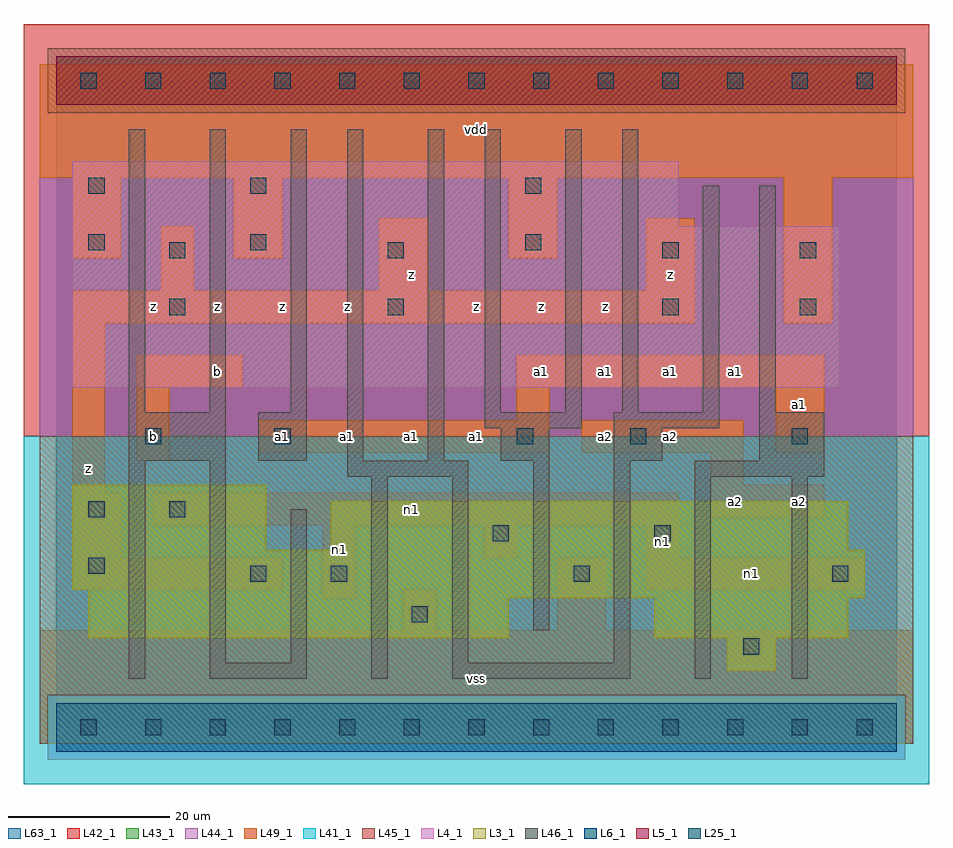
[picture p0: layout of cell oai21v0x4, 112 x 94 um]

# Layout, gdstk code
import gdstk
lib = gdstk.Library(unit=1e-6, precision=1e-09)
def R(c, l, rs):  # rectangles x0, y0, x1, y1
    for r in rs: c.add(gdstk.rectangle(r[:2], r[2:], *l))
def A(c, l, x, y, w, h, nx, ny, dx, dy):  # array of equal rectangles
    R(c, l, [(x+i*dx, y+j*dy, x+i*dx+w, y+j*dy+h) for i in range(nx) for j in range(ny)])
L3_1 = (3, 1)
L4_1 = (4, 1)
L5_1 = (5, 1)
L6_1 = (6, 1)
L25_1 = (25, 1)
L41_1 = (41, 1)
L42_1 = (42, 1)
L43_1 = (43, 1)
L44_1 = (44, 1)
L45_1 = (45, 1)
L46_1 = (46, 1)
L49_1 = (49, 1)
L63_1 = (63, 1)

oai21v0x4 = lib.new_cell('oai21v0x4')
R(oai21v0x4, L3_1, [(83,7,89,11), (4,11,56,16), (74,11,98,16), (4,16,100,17), (2,17,100,22), (2,22,26,30), (34,22,98,28)])
R(oai21v0x4, L4_1, [(2,42,97,62), (2,62,77,70)])
R(oai21v0x4, L5_1, [(0,77,104,83)])
R(oai21v0x4, L6_1, [(0,-3,104,3), (0,-3,104,3)])
A(oai21v0x4, L25_1, 3, -1, 2, 2, 13, 2, 8, 80)
R(oai21v0x4, L25_1, [(85,9,87,11), (44,13,46,15), (24,18,26,20), (34,18,36,20), (64,18,66,20), (96,18,98,20), (4,19,6,21), (54,23,56,25), (74,23,76,25), (4,26,6,28), (14,26,16,28), (11,35,13,37), (27,35,29,37), (57,35,59,37), (71,35,73,37), (91,35,93,37), (14,51,16,53), (41,51,43,53), (75,51,77,53), (92,51,94,53), (14,58,16,60), (41,58,43,60), (75,58,77,60), (92,58,94,60), (4,59,6,61), (24,59,26,61), (58,59,60,61), (4,66,6,68), (24,66,26,68), (58,66,60,68)])
R(oai21v0x4, L41_1, [(-4,-7,108,36)])
R(oai21v0x4, L42_1, [(-4,36,108,87)])
R(oai21v0x4, L43_1, [(0,-3,104,3), (83,7,89,11), (4,11,56,16), (74,11,98,16), (4,16,100,17), (2,17,100,22), (2,22,26,30), (34,22,98,28), (2,42,97,62), (2,62,77,70), (0,77,104,83)])
R(oai21v0x4, L44_1, [(-1,-4,105,4), (-2,36,106,76), (-2,76,-1,82), (105,76,106,82)])
R(oai21v0x4, L45_1, [(-2,-2,-1,4), (105,-2,106,4), (-2,4,106,36), (-1,76,105,84)])
A(oai21v0x4, L46_1, 9, 39, 2, 35, 3, 1, 10, 0)
R(oai21v0x4, L46_1, [(9,6,11,33), (19,6,31,8), (39,6,41,31), (49,6,71,8), (79,6,81,31), (91,6,93,31), (19,8,21,33), (29,8,31,27), (49,8,51,31), (69,8,71,33), (59,12,61,33), (36,31,51,33), (79,31,95,33), (9,33,21,39), (25,33,31,39), (36,33,38,74), (46,33,48,74), (55,33,61,37), (69,33,75,37), (87,33,95,39), (53,37,65,39), (69,37,82,39), (53,39,55,74), (63,39,65,74), (70,39,72,74), (80,39,82,67), (87,39,89,67)])
R(oai21v0x4, L49_1, [(-2,-2,106,12), (43,12,47,17), (62,12,68,21), (33,16,37,25), (2,17,28,21), (73,17,100,21), (2,21,8,29), (53,21,57,25), (73,21,77,25), (12,25,77,29), (81,26,95,30), (2,29,6,50), (81,30,85,34), (10,33,14,42), (25,34,61,38), (65,34,85,38), (89,34,95,42), (57,38,61,42), (10,42,23,46), (57,42,95,46), (2,50,79,54), (90,50,96,68), (13,54,17,62), (40,54,46,63), (73,54,79,63), (2,58,8,68), (22,58,28,68), (56,58,62,68), (-2,68,106,82)])
R(oai21v0x4, L63_1, [(0,0,104,80)])
oai21v0x4.add(gdstk.Label('z', (4,32), layer=49, texttype=1))
oai21v0x4.add(gdstk.Label('b', (12,36), layer=49, texttype=1))
oai21v0x4.add(gdstk.Label('z', (12,52), layer=49, texttype=1))
oai21v0x4.add(gdstk.Label('n1', (35,22), layer=49, texttype=1))
oai21v0x4.add(gdstk.Label('b', (20,44), layer=49, texttype=1))
oai21v0x4.add(gdstk.Label('a1', (28,36), layer=49, texttype=1))
oai21v0x4.add(gdstk.Label('a1', (36,36), layer=49, texttype=1))
oai21v0x4.add(gdstk.Label('z', (28,52), layer=49, texttype=1))
oai21v0x4.add(gdstk.Label('z', (36,52), layer=49, texttype=1))
oai21v0x4.add(gdstk.Label('z', (20,52), layer=49, texttype=1))
oai21v0x4.add(gdstk.Label('vss', (52,6), layer=49, texttype=1))
oai21v0x4.add(gdstk.Label('a1', (44,36), layer=49, texttype=1))
oai21v0x4.add(gdstk.Label('a1', (52,36), layer=49, texttype=1))
oai21v0x4.add(gdstk.Label('a1', (60,44), layer=49, texttype=1))
oai21v0x4.add(gdstk.Label('z', (52,52), layer=49, texttype=1))
oai21v0x4.add(gdstk.Label('z', (60,52), layer=49, texttype=1))
oai21v0x4.add(gdstk.Label('z', (44,56), layer=49, texttype=1))
oai21v0x4.add(gdstk.Label('vdd', (52,74), layer=49, texttype=1))
oai21v0x4.add(gdstk.Label('n1', (44,27), layer=49, texttype=1))
oai21v0x4.add(gdstk.Label('n1', (75,23), layer=49, texttype=1))
oai21v0x4.add(gdstk.Label('a2', (68,36), layer=49, texttype=1))
oai21v0x4.add(gdstk.Label('a1', (68,44), layer=49, texttype=1))
oai21v0x4.add(gdstk.Label('a2', (76,36), layer=49, texttype=1))
oai21v0x4.add(gdstk.Label('a1', (76,44), layer=49, texttype=1))
oai21v0x4.add(gdstk.Label('z', (68,52), layer=49, texttype=1))
oai21v0x4.add(gdstk.Label('z', (76,56), layer=49, texttype=1))
oai21v0x4.add(gdstk.Label('a2', (84,28), layer=49, texttype=1))
oai21v0x4.add(gdstk.Label('n1', (86,19), layer=49, texttype=1))
oai21v0x4.add(gdstk.Label('a2', (92,28), layer=49, texttype=1))
oai21v0x4.add(gdstk.Label('a1', (84,44), layer=49, texttype=1))
oai21v0x4.add(gdstk.Label('a1', (92,40), layer=49, texttype=1))

lib.write_gds('oai21v0x4.gds')
